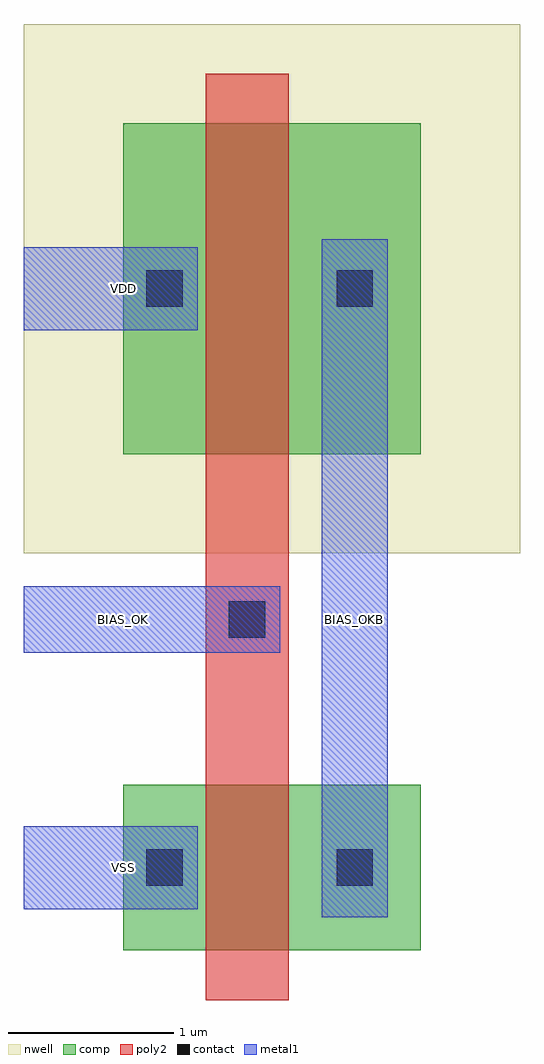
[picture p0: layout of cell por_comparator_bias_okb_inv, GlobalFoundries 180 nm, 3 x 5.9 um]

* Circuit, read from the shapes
.subckt por_comparator_bias_okb_inv BIAS_OK BIAS_OKB VDD VSS
XM1 BIAS_OKB BIAS_OK VSS VSUBS nfet_03v3 w=1u l=0.5u
XM2 BIAS_OKB BIAS_OK VDD n1 pfet_03v3 w=2u l=0.5u
.ends

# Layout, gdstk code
import gdstk
lib = gdstk.Library(unit=1e-6, precision=1e-09)
def R(c, l, rs):  # rectangles x0, y0, x1, y1
    for r in rs: c.add(gdstk.rectangle(r[:2], r[2:], *l))
nwell = (21, 0)
comp = (22, 0)
poly2 = (30, 0)
contact = (33, 0)
metal1 = (34, 0)

por_comparator_bias_okb_ = lib.new_cell('por_comparator_bias_okb_inv')
R(por_comparator_bias_okb_, nwell, [(-0.6,2.4,2.4,5.6)])
R(por_comparator_bias_okb_, comp, [(0,0,1.8,1), (0,3,1.8,5)])
R(por_comparator_bias_okb_, poly2, [(0.5,-0.3,1,5.3)])
R(por_comparator_bias_okb_, contact, [(0.14,0.39,0.36,0.61), (1.29,0.39,1.51,0.61), (0.64,1.89,0.86,2.11), (0.14,3.89,0.36,4.11), (1.29,3.89,1.51,4.11)])
R(por_comparator_bias_okb_, metal1, [(1.2,0.2,1.6,4.3), (-0.6,0.25,0.45,0.75), (-0.6,1.8,0.95,2.2), (-0.6,3.75,0.45,4.25)])
por_comparator_bias_okb_.add(gdstk.Label('VSS', (0,0.5), layer=34, texttype=10))
por_comparator_bias_okb_.add(gdstk.Label('VDD', (0,4), layer=34, texttype=10))
por_comparator_bias_okb_.add(gdstk.Label('BIAS_OK', (0,2), layer=34, texttype=10))
por_comparator_bias_okb_.add(gdstk.Label('BIAS_OKB', (1.4,2), layer=34, texttype=10))

lib.write_gds('por_comparator_bias_okb_inv.gds')
